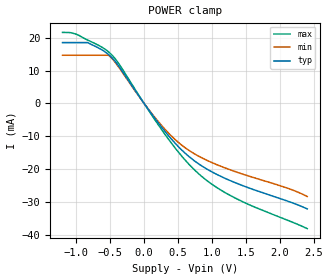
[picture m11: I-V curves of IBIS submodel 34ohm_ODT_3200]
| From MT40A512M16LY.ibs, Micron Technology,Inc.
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| SUBMODEL 34ohm_ODT_3200
[Submodel]   34ohm_ODT_3200
Submodel_type  Dynamic_clamp
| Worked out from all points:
|   POWER clamp passes 1 mA (typ) near -0.03 V on its own axis
[POWER Clamp]
|   Voltage   I(typ)   I(min)   I(max)
-1.2V     18.53mA    14.68mA    21.64mA
-1.045V   18.53mA    14.68mA    21.38mA
-830mV    18.53mA    14.68mA    19.29mA
-515mV    14.76mA    14.59mA    15.57mA
-370mV    11.26mA    10.96mA    12.05mA
0V        81.74nA    77.62nA    81.84nA
310mV     -8.572mA   -7.927mA   -9.489mA
570mV     -14.49mA   -12.96mA   -16.44mA
855mV     -19.11mA   -16.62mA   -22.34mA
1.15V     -22.4mA    -19.29mA   -26.63mA
1.43V     -24.85mA   -21.36mA   -29.71mA
2.4V      -32.09mA   -28.34mA   -38.11mA
